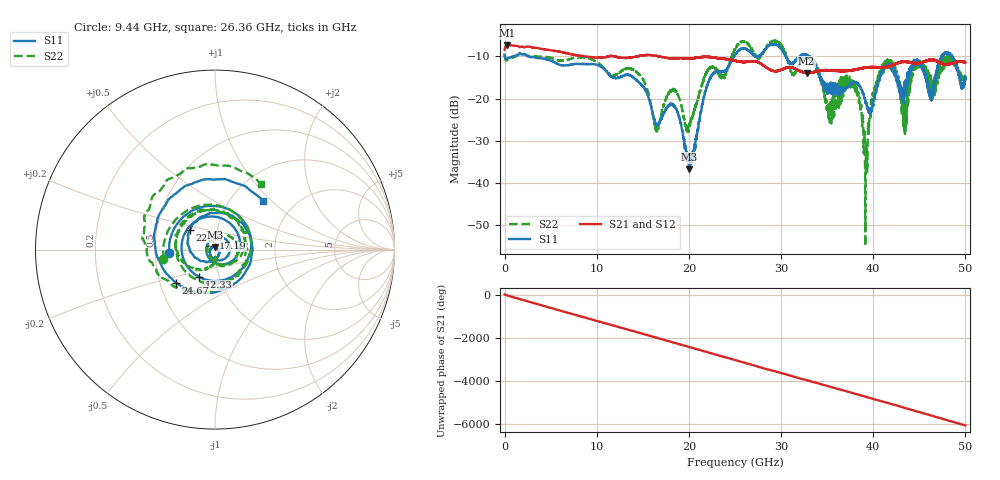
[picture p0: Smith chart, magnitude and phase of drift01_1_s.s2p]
!Created with skrf (http://scikit-rf.org).
# Hz S RI R 50.0
!freq ReS11 ImS11 ReS21 ImS21 ReS12 ImS12 ReS22 ImS22
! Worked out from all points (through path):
!   10001 points, 300 kHz to 50 GHz, reference 50 ohm
!   highest |S21| = -7.33 dB at 310.3 MHz (marker M1); lowest = -14.0 dB at 32.77 GHz (marker M2)
!   group delay of S21, straight-line fit = 335 ps
!   lowest |S11| = -36.7 dB at 20.01 GHz (marker M3), VSWR 1.03, Z = 49.9 + j1.45 ohm
!   |S11| at or under -10 dB: 2.557 GHz to 24.91 GHz (22.35 GHz wide, 163 % of centre); 30.5 GHz to 32.01 GHz (1.519 GHz wide, 4.86 % of centre); 33.07 GHz to 47.39 GHz (14.33 GHz wide, 35.6 % of centre)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
!   |S22| runs from -54.9 to -6.2 dB; largest |S21 - S12| = 0.0087
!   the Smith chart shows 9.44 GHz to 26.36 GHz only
!   S11 on the Smith chart (normalised r, x): 9.44 GHz: 0.59, -0.02; 12.33 GHz: 0.80, -0.25; 17.19 GHz: 0.97, +0.12; 22.35 GHz: 0.74, +0.17; 24.67 GHz: 0.61, -0.24; 26.36 GHz: 1.40, +0.89
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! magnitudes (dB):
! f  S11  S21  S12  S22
! 300 kHz  -9.6  -8.4  -8.6  -9.5
! 310.3 MHz  -10.5  -7.3  -7.3  -10.9
! 8.335 GHz  -11.8  -9.9  -9.9  -10.2
! 9.44 GHz  -11.8  -10.2  -10.2  -10.7
! 12.33 GHz  -15.1  -10.2  -10.2  -14.0
! 16.67 GHz  -26.2  -10.0  -10.0  -27.2
! 17.19 GHz  -23.9  -10.2  -10.2  -22.2
! 20.01 GHz  -36.7  -10.5  -10.5  -26.4
! 22.35 GHz  -15.0  -10.2  -10.2  -12.7
! 24.67 GHz  -10.9  -10.8  -10.8  -10.0
! 25 GHz  -9.6  -11.0  -11.1  -8.4
! 26.36 GHz  -8.4  -11.2  -11.3  -7.0
! 32.77 GHz  -9.7  -14.0  -13.9  -10.3
! 33.34 GHz  -10.8  -13.8  -13.8  -10.5
! 35.22 GHz  -17.4  -13.3  -13.3  -21.9
! 37.97 GHz  -16.0  -13.1  -13.1  -17.3
! 39.17 GHz  -20.9  -12.7  -12.7  -42.7
! 40.16 GHz  -20.1  -12.5  -12.5  -17.5
! 41.67 GHz  -12.2  -12.4  -12.4  -11.3
! 43.37 GHz  -18.9  -11.3  -11.3  -22.4
! 44.88 GHz  -11.1  -11.6  -11.6  -11.6
! 50 GHz  -15.2  -11.5  -11.4  -15.0
